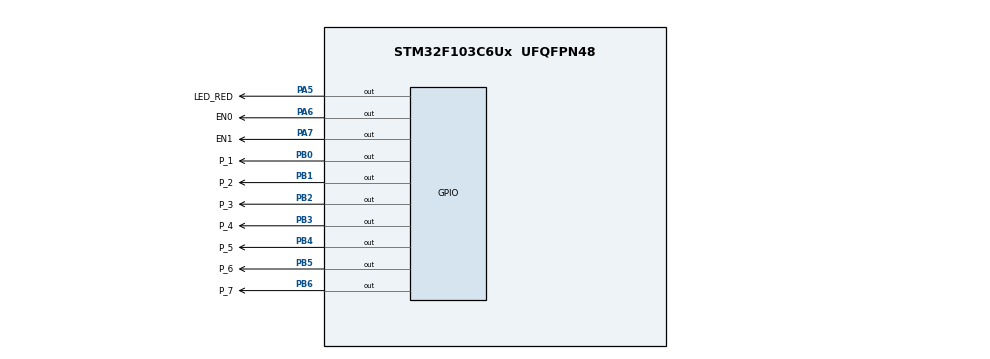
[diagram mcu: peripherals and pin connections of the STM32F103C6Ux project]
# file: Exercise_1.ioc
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Mcu.Family=STM32F1
Mcu.Name=STM32F103C6Ux
Mcu.Package=UFQFPN48
NVIC.PriorityGroup=NVIC_PRIORITYGROUP_4
NVIC.TIM2_IRQn=true\:0\:0\:false\:false\:true\:true\:true
PA5.GPIO_Label=LED_RED
PA5.Signal=GPIO_Output
PA6.GPIO_Label=EN0
PA6.Signal=GPIO_Output
PA7.GPIO_Label=EN1
PA7.Signal=GPIO_Output
PB0.GPIO_Label=P_1
PB0.Signal=GPIO_Output
PB1.GPIO_Label=P_2
PB1.Signal=GPIO_Output
PB2.GPIO_Label=P_3
PB2.Signal=GPIO_Output
PB3.GPIO_Label=P_4
PB3.Signal=GPIO_Output
PB4.GPIO_Label=P_5
PB4.Signal=GPIO_Output
PB5.GPIO_Label=P_6
PB5.Signal=GPIO_Output
PB6.GPIO_Label=P_7
PB6.Signal=GPIO_Output
ProjectManager.HeapSize=0x200
ProjectManager.StackSize=0x400
ProjectManager.TargetToolchain=STM32CubeIDE
RCC.APB1Freq_Value=8000000
RCC.APB2Freq_Value=8000000
TIM2.Period=9
TIM2.Prescaler=7999
VP_SYS_VS_ND.Mode=No_Debug
VP_TIM2_VS_ClockSourceINT.Mode=Internal
board=custom

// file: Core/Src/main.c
/* USER CODE BEGIN Header */
/**
  ******************************************************************************
  * @file           : main.c
  * @brief          : Main program body
  ******************************************************************************
  * @attention
  *
  * <h2><center>&copy; Copyright (c) 2022 STMicroelectronics.
  * All rights reserved.</center></h2>
  *
  * This software component is licensed by ST under BSD 3-Clause license,
  * the "License"; You may not use this file except in compliance with the
  * License. You may obtain a copy of the License at:
  *                        opensource.org/licenses/BSD-3-Clause
  *
  ******************************************************************************
  */
/* USER CODE END Header */
#include "main.h"

/* USER CODE BEGIN Includes */
#include "timer.h"
/* USER CODE END Includes */

TIM_HandleTypeDef htim2;

void SystemClock_Config(void);
static void MX_GPIO_Init(void);
static void MX_TIM2_Init(void);

/* USER CODE BEGIN 0 */
void display7SEG (int time)
{
	if(time==0)
	{
		HAL_GPIO_WritePin(P_1_GPIO_Port, P_1_Pin, RESET);
		HAL_GPIO_WritePin(P_2_GPIO_Port, P_2_Pin, RESET);
		HAL_GPIO_WritePin(P_3_GPIO_Port, P_3_Pin, RESET);
		HAL_GPIO_WritePin(P_4_GPIO_Port, P_4_Pin, RESET);
		HAL_GPIO_WritePin(P_5_GPIO_Port, P_5_Pin, RESET);
		HAL_GPIO_WritePin(P_6_GPIO_Port, P_6_Pin, RESET);
		HAL_GPIO_WritePin(P_7_GPIO_Port, P_7_Pin, SET);
	}
	else if(time==1)
	{
		HAL_GPIO_WritePin(P_1_GPIO_Port, P_1_Pin, SET);
		HAL_GPIO_WritePin(P_2_GPIO_Port, P_2_Pin, RESET);
		HAL_GPIO_WritePin(P_3_GPIO_Port, P_3_Pin, RESET);
		HAL_GPIO_WritePin(P_4_GPIO_Port, P_4_Pin, SET);
		HAL_GPIO_WritePin(P_5_GPIO_Port, P_5_Pin, SET);
		HAL_GPIO_WritePin(P_6_GPIO_Port, P_6_Pin, SET);
		HAL_GPIO_WritePin(P_7_GPIO_Port, P_7_Pin, SET);
	}
	else if(time==2)
	{
		HAL_GPIO_WritePin(P_1_GPIO_Port, P_1_Pin, RESET);
		HAL_GPIO_WritePin(P_2_GPIO_Port, P_2_Pin, RESET);
		HAL_GPIO_WritePin(P_3_GPIO_Port, P_3_Pin, SET);
		HAL_GPIO_WritePin(P_4_GPIO_Port, P_4_Pin, RESET);
		HAL_GPIO_WritePin(P_5_GPIO_Port, P_5_Pin, RESET);
		HAL_GPIO_WritePin(P_6_GPIO_Port, P_6_Pin, SET);
		HAL_GPIO_WritePin(P_7_GPIO_Port, P_7_Pin, RESET);
	}
	else if(time==3)
	{
		HAL_GPIO_WritePin(P_1_GPIO_Port, P_1_Pin, RESET);
		HAL_GPIO_WritePin(P_2_GPIO_Port, P_2_Pin, RESET);
		HAL_GPIO_WritePin(P_3_GPIO_Port, P_3_Pin, RESET);
		HAL_GPIO_WritePin(P_4_GPIO_Port, P_4_Pin, RESET);
		HAL_GPIO_WritePin(P_5_GPIO_Port, P_5_Pin, SET);
		HAL_GPIO_WritePin(P_6_GPIO_Port, P_6_Pin, SET);
		HAL_GPIO_WritePin(P_7_GPIO_Port, P_7_Pin, RESET);
	}
	else if(time==4)
	{
		HAL_GPIO_WritePin(P_1_GPIO_Port, P_1_Pin, SET);
		HAL_GPIO_WritePin(P_2_GPIO_Port, P_2_Pin, RESET);
		HAL_GPIO_WritePin(P_3_GPIO_Port, P_3_Pin, RESET);
		HAL_GPIO_WritePin(P_4_GPIO_Port, P_4_Pin, SET);
		HAL_GPIO_WritePin(P_5_GPIO_Port, P_5_Pin, SET);
		HAL_GPIO_WritePin(P_6_GPIO_Port, P_6_Pin, RESET);
		HAL_GPIO_WritePin(P_7_GPIO_Port, P_7_Pin, RESET);
	}
	else if(time==5)
	{
		HAL_GPIO_WritePin(P_1_GPIO_Port, P_1_Pin, RESET);
		HAL_GPIO_WritePin(P_2_GPIO_Port, P_2_Pin, SET);
		HAL_GPIO_WritePin(P_3_GPIO_Port, P_3_Pin, RESET);
		HAL_GPIO_WritePin(P_4_GPIO_Port, P_4_Pin, RESET);
		HAL_GPIO_WritePin(P_5_GPIO_Port, P_5_Pin, SET);
		HAL_GPIO_WritePin(P_6_GPIO_Port, P_6_Pin, RESET);
		HAL_GPIO_WritePin(P_7_GPIO_Port, P_7_Pin, RESET);
	}
	else if(time==6)
	{
		HAL_GPIO_WritePin(P_1_GPIO_Port, P_1_Pin, RESET);
		HAL_GPIO_WritePin(P_2_GPIO_Port, P_2_Pin, SET);
		HAL_GPIO_WritePin(P_3_GPIO_Port, P_3_Pin, RESET);
		HAL_GPIO_WritePin(P_4_GPIO_Port, P_4_Pin, RESET);
		HAL_GPIO_WritePin(P_5_GPIO_Port, P_5_Pin, RESET);
		HAL_GPIO_WritePin(P_6_GPIO_Port, P_6_Pin, RESET);
		HAL_GPIO_WritePin(P_7_GPIO_Port, P_7_Pin, RESET);
	}
	else if(time==7)
	{
		HAL_GPIO_WritePin(P_1_GPIO_Port, P_1_Pin, RESET);
		HAL_GPIO_WritePin(P_2_GPIO_Port, P_2_Pin, RESET);
		HAL_GPIO_WritePin(P_3_GPIO_Port, P_3_Pin, RESET);
		HAL_GPIO_WritePin(P_4_GPIO_Port, P_4_Pin, SET);
		HAL_GPIO_WritePin(P_5_GPIO_Port, P_5_Pin, SET);
		HAL_GPIO_WritePin(P_6_GPIO_Port, P_6_Pin, SET);
		HAL_GPIO_WritePin(P_7_GPIO_Port, P_7_Pin, SET);
	}
	else if(time==8)
	{
		HAL_GPIO_WritePin(P_1_GPIO_Port, P_1_Pin, RESET);
		HAL_GPIO_WritePin(P_2_GPIO_Port, P_2_Pin, RESET);
		HAL_GPIO_WritePin(P_3_GPIO_Port, P_3_Pin, RESET);
		HAL_GPIO_WritePin(P_4_GPIO_Port, P_4_Pin, RESET);
		HAL_GPIO_WritePin(P_5_GPIO_Port, P_5_Pin, RESET);
		HAL_GPIO_WritePin(P_6_GPIO_Port, P_6_Pin, RESET);
		HAL_GPIO_WritePin(P_7_GPIO_Port, P_7_Pin, RESET);
	}
	else if(time==9)
	{
		HAL_GPIO_WritePin(P_1_GPIO_Port, P_1_Pin, RESET);
		HAL_GPIO_WritePin(P_2_GPIO_Port, P_2_Pin, RESET);
		HAL_GPIO_WritePin(P_3_GPIO_Port, P_3_Pin, RESET);
		HAL_GPIO_WritePin(P_4_GPIO_Port, P_4_Pin, RESET);
		HAL_GPIO_WritePin(P_5_GPIO_Port, P_5_Pin, SET);
		HAL_GPIO_WritePin(P_6_GPIO_Port, P_6_Pin, RESET);
		HAL_GPIO_WritePin(P_7_GPIO_Port, P_7_Pin, RESET);
	}
}
/* USER CODE END 0 */

int main(void)
{

  /* MCU Configuration--------------------------------------------------------*/

  /* Reset of all peripherals, Initializes the Flash interface and the Systick. */
  HAL_Init();

  /* Configure the system clock */
  SystemClock_Config();

  /* Initialize all configured peripherals */
  MX_GPIO_Init();
  MX_TIM2_Init();
  /* USER CODE BEGIN 2 */
  HAL_TIM_Base_Start_IT(&htim2);
  /* USER CODE END 2 */

  /* Infinite loop */
  /* USER CODE BEGIN WHILE */
  setTimer1(100);
  HAL_GPIO_WritePin(EN0_GPIO_Port, EN0_Pin, RESET);
  HAL_GPIO_WritePin(EN1_GPIO_Port, EN1_Pin, SET);
  while (1)
  {
	 if(timer1_flag==1)
	 {
		 setTimer1(100);
		 HAL_GPIO_TogglePin(LED_RED_GPIO_Port, LED_RED_Pin);
	 }
    /* USER CODE END WHILE */

  }
}

void SystemClock_Config(void)
{
  RCC_OscInitTypeDef RCC_OscInitStruct = {0};
  RCC_ClkInitTypeDef RCC_ClkInitStruct = {0};

  /** Initializes the RCC Oscillators according to the specified parameters
  * in the RCC_OscInitTypeDef structure.
  */
  RCC_OscInitStruct.OscillatorType = RCC_OSCILLATORTYPE_HSI;
  RCC_OscInitStruct.HSIState = RCC_HSI_ON;
  RCC_OscInitStruct.HSICalibrationValue = RCC_HSICALIBRATION_DEFAULT;
  RCC_OscInitStruct.PLL.PLLState = RCC_PLL_NONE;
  if (HAL_RCC_OscConfig(&RCC_OscInitStruct) != HAL_OK)
  {
    Error_Handler();
  }
  /** Initializes the CPU, AHB and APB buses clocks
  */
  RCC_ClkInitStruct.ClockType = RCC_CLOCKTYPE_HCLK|RCC_CLOCKTYPE_SYSCLK
                              |RCC_CLOCKTYPE_PCLK1|RCC_CLOCKTYPE_PCLK2;
  RCC_ClkInitStruct.SYSCLKSource = RCC_SYSCLKSOURCE_HSI;
  RCC_ClkInitStruct.AHBCLKDivider = RCC_SYSCLK_DIV1;
  RCC_ClkInitStruct.APB1CLKDivider = RCC_HCLK_DIV1;
  RCC_ClkInitStruct.APB2CLKDivider = RCC_HCLK_DIV1;

  if (HAL_RCC_ClockConfig(&RCC_ClkInitStruct, FLASH_LATENCY_0) != HAL_OK)
  {
    Error_Handler();
  }
}

static void MX_TIM2_Init(void)
{

  TIM_ClockConfigTypeDef sClockSourceConfig = {0};
  TIM_MasterConfigTypeDef sMasterConfig = {0};

  htim2.Instance = TIM2;
  htim2.Init.Prescaler = 7999;
  htim2.Init.CounterMode = TIM_COUNTERMODE_UP;
  htim2.Init.Period = 9;
  htim2.Init.ClockDivision = TIM_CLOCKDIVISION_DIV1;
  htim2.Init.AutoReloadPreload = TIM_AUTORELOAD_PRELOAD_DISABLE;
  if (HAL_TIM_Base_Init(&htim2) != HAL_OK)
  {
    Error_Handler();
  }
  sClockSourceConfig.ClockSource = TIM_CLOCKSOURCE_INTERNAL;
  if (HAL_TIM_ConfigClockSource(&htim2, &sClockSourceConfig) != HAL_OK)
  {
    Error_Handler();
  }
  sMasterConfig.MasterOutputTrigger = TIM_TRGO_RESET;
  sMasterConfig.MasterSlaveMode = TIM_MASTERSLAVEMODE_DISABLE;
  if (HAL_TIMEx_MasterConfigSynchronization(&htim2, &sMasterConfig) != HAL_OK)
  {
    Error_Handler();
  }

}

static void MX_GPIO_Init(void)
{
  GPIO_InitTypeDef GPIO_InitStruct = {0};

  /* GPIO Ports Clock Enable */
  __HAL_RCC_GPIOA_CLK_ENABLE();
  __HAL_RCC_GPIOB_CLK_ENABLE();

  /*Configure GPIO pin Output Level */
  HAL_GPIO_WritePin(GPIOA, LED_RED_Pin|EN0_Pin|EN1_Pin, GPIO_PIN_RESET);

  /*Configure GPIO pin Output Level */
  HAL_GPIO_WritePin(GPIOB, P_1_Pin|P_2_Pin|P_3_Pin|P_4_Pin
                          |P_5_Pin|P_6_Pin|P_7_Pin, GPIO_PIN_RESET);

  /*Configure GPIO pins : LED_RED_Pin EN0_Pin EN1_Pin */
  GPIO_InitStruct.Pin = LED_RED_Pin|EN0_Pin|EN1_Pin;
  GPIO_InitStruct.Mode = GPIO_MODE_OUTPUT_PP;
  GPIO_InitStruct.Pull = GPIO_NOPULL;
  GPIO_InitStruct.Speed = GPIO_SPEED_FREQ_LOW;
  HAL_GPIO_Init(GPIOA, &GPIO_InitStruct);

  /*Configure GPIO pins : P_1_Pin P_2_Pin P_3_Pin P_4_Pin
                           P_5_Pin P_6_Pin P_7_Pin */
  GPIO_InitStruct.Pin = P_1_Pin|P_2_Pin|P_3_Pin|P_4_Pin
                          |P_5_Pin|P_6_Pin|P_7_Pin;
  GPIO_InitStruct.Mode = GPIO_MODE_OUTPUT_PP;
  GPIO_InitStruct.Pull = GPIO_NOPULL;
  GPIO_InitStruct.Speed = GPIO_SPEED_FREQ_LOW;
  HAL_GPIO_Init(GPIOB, &GPIO_InitStruct);

}

/* USER CODE BEGIN 4 */
int counter=50;
int status=1;
void HAL_TIM_PeriodElapsedCallback(TIM_HandleTypeDef *htim)
{
	if(counter>0)
	{
		counter--;
		if(counter<=0)
		{
			if(status==1)
			{
				status=2;
			}
			else status=1;
			counter=50;
			HAL_GPIO_TogglePin(EN0_GPIO_Port,EN0_Pin);
			HAL_GPIO_TogglePin(EN1_GPIO_Port,EN1_Pin);
		}
	}
	display7SEG(status);
	timerRun();
}
/* USER CODE END 4 */

void Error_Handler(void)
{
  __disable_irq();
  while (1)
  {
  }
}

/************************ (C) COPYRIGHT STMicroelectronics *****END OF FILE****/
